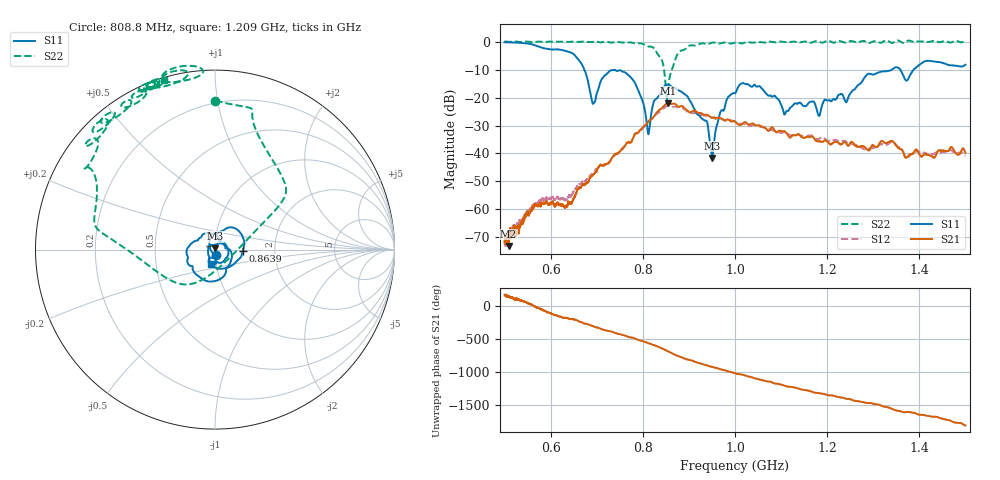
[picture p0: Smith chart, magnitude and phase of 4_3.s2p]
!Agilent Technologies,E8364B,US42250235,A.06.04.32
!Agilent E8364B: A.06.04.32
!Date: Thursday, October 01, 2020 16:01:38
!Correction: S11(Full 2 Port(1,2)) S21(Full 2 Port(1,2)) S12(Full 2 Port(1,2)) S22(Full 2 Port(1,2))
!S2P File: Measurements: S11, S21, S12, S22:
# Hz S  dB  R 50
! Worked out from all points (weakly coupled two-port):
!   2650 points, 500 MHz to 1.5 GHz, reference 50 ohm
!   highest |S21| = -22.09 dB at 855.6 MHz (marker M1); lowest = -73.0 dB at 508.7 MHz (marker M2)
!   lowest |S11| = -41.6 dB at 950.7 MHz (marker M3), VSWR 1.02, Z = 49.8 + j0.813 ohm
!   |S11| at or under -10 dB: 673 MHz to 1.341 GHz (667.8 MHz wide, 66.3 % of centre); 1.359 GHz to 1.388 GHz (29.18 MHz wide, 2.13 % of centre)
!   |S22| runs from -21.0 to 0.4 dB; largest |S21 - S12| = 0.011
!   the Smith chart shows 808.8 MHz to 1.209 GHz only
!   S11 on the Smith chart (normalised r, x): 808.8 MHz: 1.01, -0.07; 863.9 MHz: 1.37, -0.01; 1.209 GHz: 0.94, -0.16
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5e8  -0.23 -174.9  -71.44 177.8  -71.92 161.9  0.04 143.6
5.086825e8  -0.27 -179.5  -73.03 150.2  -69.58 156.0  -0.10 143.9
5.653077e8  -1.28 142.8  -58.68 -0.6  -58.05 9.1  -0.11 131.0
6.204228e8  -2.90 108.9  -58.15 -157.8  -56.07 -146.7  -0.04 129.8
6.668554e8  -7.89 48.8  -51.73 118.7  -50.49 126.9  -0.04 124.4
6.925255e8  -22.18 74.9  -47.47 56.5  -46.67 68.9  -0.07 120.0
7.280106e8  -10.51 93.4  -43.00 -17.0  -42.78 -7.1  -0.27 116.4
7.706682e8  -12.32 24.3  -36.03 -109.6  -36.02 -99.3  -0.26 104.7
8.087958e8  -29.62 -78.4  -29.33 169.0  -29.30 174.9  -1.62 89.8
8.337108e8  -19.62 73.2  -24.68 104.3  -25.44 104.1  -4.84 52.8
8.556059e8  -15.40 20.2  -22.09 30.9  -23.01 32.7  -15.51 -109.0
8.639109e8  -16.18 -1.9  -22.25 4.7  -23.29 7.1  -9.72 -153.8
8.81276e8  -17.73 -41.8  -23.13 -44.8  -23.69 -42.5  -3.36 168.9
9.363911e8  -28.26 170.6  -26.11 -171.1  -26.51 -168.4  -0.83 140.0
9.507361e8  -41.64 100.1  -27.20 160.2  -27.12 160.5  -0.36 131.2
9.677237e8  -25.46 36.7  -27.31 126.0  -27.53 129.2  -0.68 128.5
1.000189e9  -18.46 -60.6  -28.55 62.3  -28.74 62.8  -0.36 119.7
1.109664e9  -25.56 64.2  -32.31 -130.8  -32.65 -124.0  -0.22 114.0
1.166667e9  -21.48 -98.0  -33.88 143.6  -33.54 147.7  -0.35 101.5
1.209324e9  -21.33 -105.4  -36.61 86.5  -35.60 87.8  -0.13 106.8
1.333522e9  -10.46 -153.3  -35.95 -97.8  -36.55 -90.1  0.11 97.8
1.5e9  -8.29 146.4  -39.76 -10.4  -40.77 10.7  0.28 72.0
